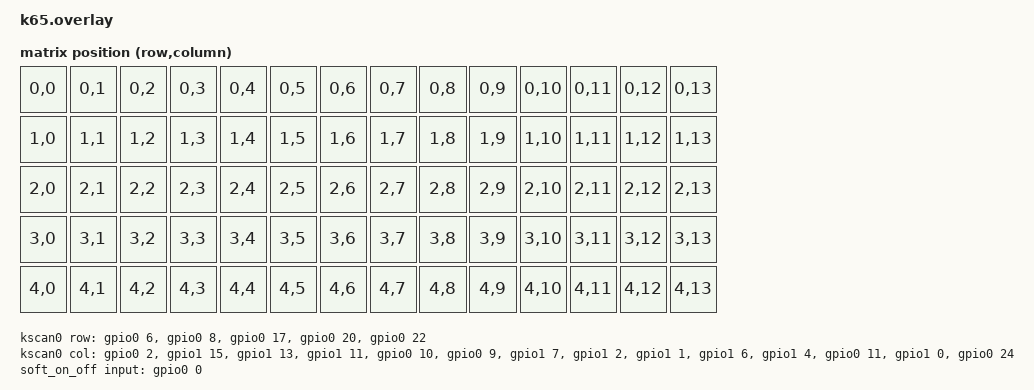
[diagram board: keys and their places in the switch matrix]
#include <dt-bindings/zmk/matrix_transform.h>
#include "k65-layouts.dtsi"

&physical_layout0 {
	transform = <&matrix_transform>;
};

/ {
	chosen {
		zmk,kscan = &kscan0;
		zmk,physical-layout = &physical_layout0;
		zmk,underglow = &led_strip;
	};

	led_strip: ws2812 {
        status = "okay";
        auto-off-usb = <0>;
        auto-off-bluetooth = <1>;
    };
	
	matrix_transform: keymap_transform_0 {
		compatible = "zmk,matrix-transform";
		columns = <14>;
		rows = <5>;
		// | SW6  | SW5  | SW4  | SW3  | SW2  | SW1  | SW2  | SW3  | SW4  | SW5  | SW6  |
		// | SW12 | SW11 | SW10 | SW9  | SW8  | SW7  | SW8  | SW9  | SW10 | SW11 | SW12 |
		// | SW18 | SW17 | SW16 | SW15 | SW14 | SW13 | SW14 | SW15 | SW16 | SW17 | SW18 |
		//                      | SW29 | SW28 | SW27 | SW27 | SW28 | SW29 |
		map = <
		RC(0,0) RC(0,1) RC(0,2) RC(0,3) RC(0,4) RC(0,5) RC(0,6) RC(0,7) RC(0,8) RC(0,9) RC(0,10) RC(0,11) RC(0,12) RC(0,13)
		RC(1,0) RC(1,1) RC(1,2) RC(1,3) RC(1,4) RC(1,5) RC(1,6) RC(1,7) RC(1,8) RC(1,9) RC(1,10) RC(1,11) RC(1,12) RC(1,13)
		RC(2,0) RC(2,1) RC(2,2) RC(2,3) RC(2,4) RC(2,5) RC(2,6) RC(2,7) RC(2,8) RC(2,9) RC(2,10) RC(2,11) RC(2,12) RC(2,13)
		RC(3,0) RC(3,1) RC(3,2) RC(3,3) RC(3,4) RC(3,5) RC(3,6) RC(3,7) RC(3,8) RC(3,9) RC(3,10) RC(3,11) RC(3,12) RC(3,13)
		RC(4,0) RC(4,1) RC(4,2) RC(4,3) RC(4,4) RC(4,5) RC(4,6) RC(4,7) RC(4,8) RC(4,9) RC(4,10) RC(4,11) RC(4,12) RC(4,13)
		>;
	};
	
	kscan0: kscan {
		compatible = "zmk,kscan-gpio-matrix";
		label = "KSCAN";
		diode-direction = "col2row";
		wakeup-source;
		row-gpios
		= <&gpio0 6 (GPIO_ACTIVE_HIGH | GPIO_PULL_DOWN)>
		, <&gpio0 8 (GPIO_ACTIVE_HIGH | GPIO_PULL_DOWN)>
		, <&gpio0 17 (GPIO_ACTIVE_HIGH | GPIO_PULL_DOWN)>
		, <&gpio0 20 (GPIO_ACTIVE_HIGH | GPIO_PULL_DOWN)>
		, <&gpio0 22 (GPIO_ACTIVE_HIGH | GPIO_PULL_DOWN)>
		;
		col-gpios
		= <&gpio0 2 GPIO_ACTIVE_HIGH>
		, <&gpio1 15 GPIO_ACTIVE_HIGH>
		, <&gpio1 13 GPIO_ACTIVE_HIGH>
		, <&gpio1 11 GPIO_ACTIVE_HIGH>
		, <&gpio0 10 GPIO_ACTIVE_HIGH>
		, <&gpio0 9 GPIO_ACTIVE_HIGH>
		, <&gpio1 7 GPIO_ACTIVE_HIGH>
		, <&gpio1 2 GPIO_ACTIVE_HIGH>
		, <&gpio1 1 GPIO_ACTIVE_HIGH>
		, <&gpio1 6 GPIO_ACTIVE_HIGH>
		, <&gpio1 4 GPIO_ACTIVE_HIGH>
		, <&gpio0 11 GPIO_ACTIVE_HIGH>
		, <&gpio1 0 GPIO_ACTIVE_HIGH>
		, <&gpio0 24 GPIO_ACTIVE_HIGH>
		;
	};

	wakeup_source: wakeup_source {
        compatible = "zmk,wakeup-trigger-key";
        trigger = <&wakeup_key>;
        wakeup-source;
        extra-gpios = <&gpio0 13 GPIO_ACTIVE_HIGH>;
    };

	soft_off_wakers {
		compatible = "zmk,soft-off-wakeup-sources";
		wakeup-sources = <&wakeup_source>;
	};

    soft_off_behavior_key {
        compatible = "zmk,behavior-key";
        status = "okay";
        bindings = <&soft_off>;
        key = <&wakeup_key>;
    };

	soft_on_off {
		compatible = "zmk,soft-on-ff-gpio";
		input-gpios = <&gpio0 0 (GPIO_ACTIVE_LOW | GPIO_PULL_UP)>;
		wakeup-sources = <&kscan0>;
	};

	keys {
        compatible = "gpio-keys";
        wakeup_key: wakeup_key {
			gpios = <&gpio0 0 (GPIO_ACTIVE_LOW | GPIO_PULL_UP)>;
		};
    };
	
};
